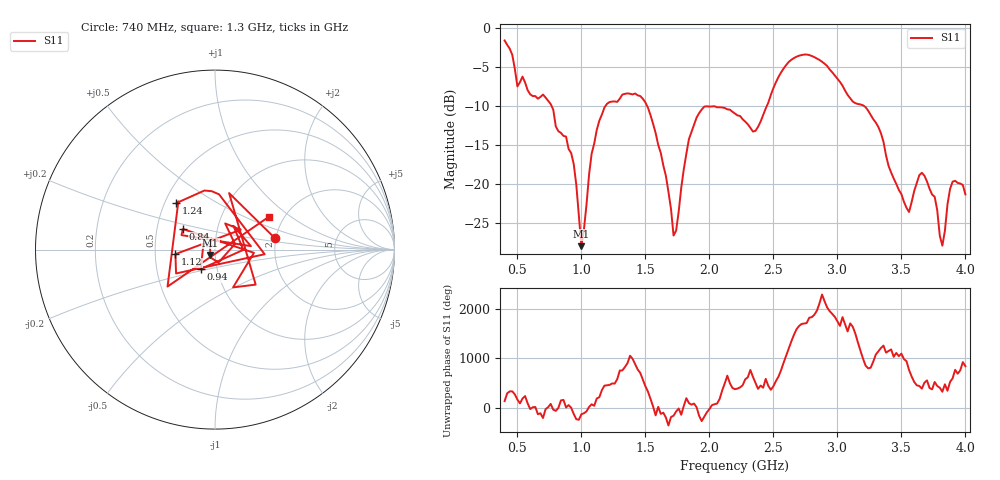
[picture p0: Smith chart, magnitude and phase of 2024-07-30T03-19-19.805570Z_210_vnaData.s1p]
!Created with skrf (http://scikit-rf.org).
# Hz S RI R 50.0
!freq ReS11 ImS11
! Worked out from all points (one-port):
!   181 points, 400 MHz to 4 GHz, reference 50 ohm
!   lowest |S11| = -27.9 dB at 1 GHz (marker M1), VSWR 1.08, Z = 47.3 - j2.83 ohm
!   |S11| at or under -10 dB: 766.4 MHz to 1.189 GHz (422.5 MHz wide, 43.2 % of centre); 1.513 GHz to 2.449 GHz (936.3 MHz wide, 47.3 % of centre); 3.206 GHz to end of sweep
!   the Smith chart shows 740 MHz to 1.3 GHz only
!   S11 on the Smith chart (normalised r, x): 740 MHz: 1.98, +0.28; 840 MHz: 0.68, +0.16; 940 MHz: 0.83, -0.18; 1.12 GHz: 0.64, -0.03; 1.24 GHz: 0.57, +0.34; 1.3 GHz: 1.68, +0.70
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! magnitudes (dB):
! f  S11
! 400 MHz  -1.7
! 500 MHz  -7.5
! 740 MHz  -9.3
! 840 MHz  -13.5
! 860 MHz  -13.8
! 940 MHz  -17.4
! 1 GHz  -27.9
! 1.12 GHz  -13.1
! 1.24 GHz  -9.5
! 1.3 GHz  -9.1
! 1.5 GHz  -9.6
! 1.66 GHz  -18.9
! 1.72 GHz  -26.6
! 1.76 GHz  -23.5
! 1.84 GHz  -14.3
! 1.92 GHz  -10.9
! 2.2 GHz  -11.0
! 2.36 GHz  -13.2
! 2.66 GHz  -3.9
! 2.88 GHz  -4.4
! 3.1 GHz  -9.0
! 3.32 GHz  -12.7
! 3.56 GHz  -23.6
! 3.66 GHz  -18.6
! 3.76 GHz  -21.6
! 3.82 GHz  -27.9
! 3.9 GHz  -19.7
! 4 GHz  -21.3
